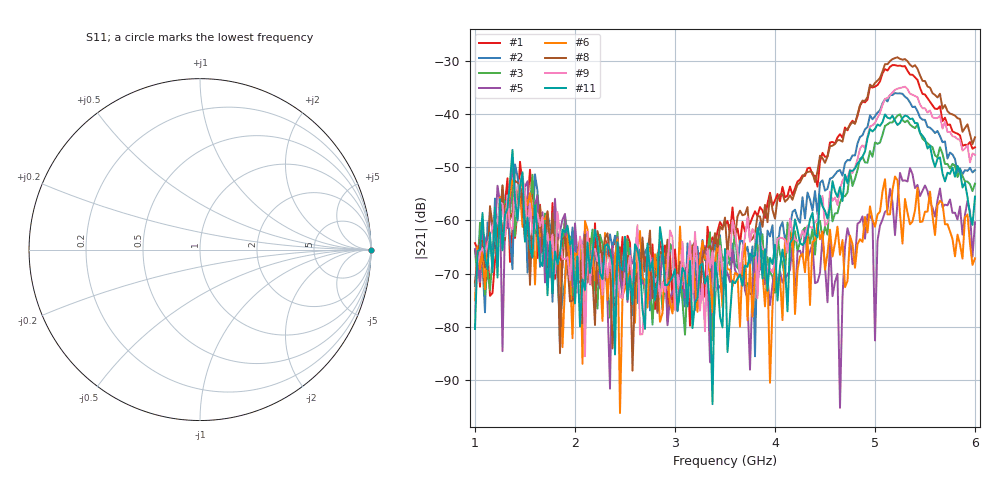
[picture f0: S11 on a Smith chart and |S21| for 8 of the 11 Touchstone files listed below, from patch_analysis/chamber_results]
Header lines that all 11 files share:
!Keysight Technologies N9926A: A.08.19
!Timezone: (GMT-06:00) Central Time (US & Canada)
!Model: N9926A
!Serial: MY53102721
!GPS Latitude:
!GPS Longitude:
!GPS TimeStamp: 0001-01-01 00:00:00Z
!GPS Seconds Since Last Read: 0
!Correction: S11()S21(ON U)S12()S22()
!S2P File: Measurements:S11,S21,S12,S22:
# Hz S DB R 50
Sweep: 1 GHz to 6 GHz
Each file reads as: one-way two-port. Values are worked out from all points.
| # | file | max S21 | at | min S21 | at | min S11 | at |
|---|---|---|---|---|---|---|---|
| 1 | 30Q40.s2p | -30.83 dB | 5.2 GHz | -79.7 dB | 3.15 GHz | 0.0 dB | 1 GHz |
| 2 | 30Q70.s2p | -36.10 dB | 5.2 GHz | -85.5 dB | 3.8 GHz | 0.0 dB | 1 GHz |
| 3 | 30Q100.s2p | -40.06 dB | 5.25 GHz | -83.4 dB | 1.85 GHz | 0.0 dB | 1 GHz |
| 4 | 30Q120.s2p | -42.89 dB | 5.225 GHz | -85.1 dB | 2.275 GHz | 0.0 dB | 1 GHz |
| 5 | 30Q140.s2p | -50.16 dB | 5.35 GHz | -95.2 dB | 4.65 GHz | 0.0 dB | 1 GHz |
| 6 | 30Q150.s2p | -51.74 dB | 5.2 GHz | -96.1 dB | 2.45 GHz | 0.0 dB | 1 GHz |
| 7 | 30Q.s2p | -25.92 dB | 5.225 GHz | -79.5 dB | 2.425 GHz | 0.0 dB | 1 GHz |
| 8 | 40.s2p | -29.36 dB | 5.225 GHz | -88.2 dB | 2.575 GHz | 0.0 dB | 1 GHz |
| 9 | 60.s2p | -34.89 dB | 5.3 GHz | -85.5 dB | 2.1 GHz | 0.0 dB | 1 GHz |
| 10 | 130.s2p | -38.00 dB | 5.3 GHz | -87.0 dB | 2.6 GHz | 0.0 dB | 1 GHz |
| 11 | 150.s2p | -40.10 dB | 5.1 GHz | -94.5 dB | 3.375 GHz | 0.0 dB | 1 GHz |
